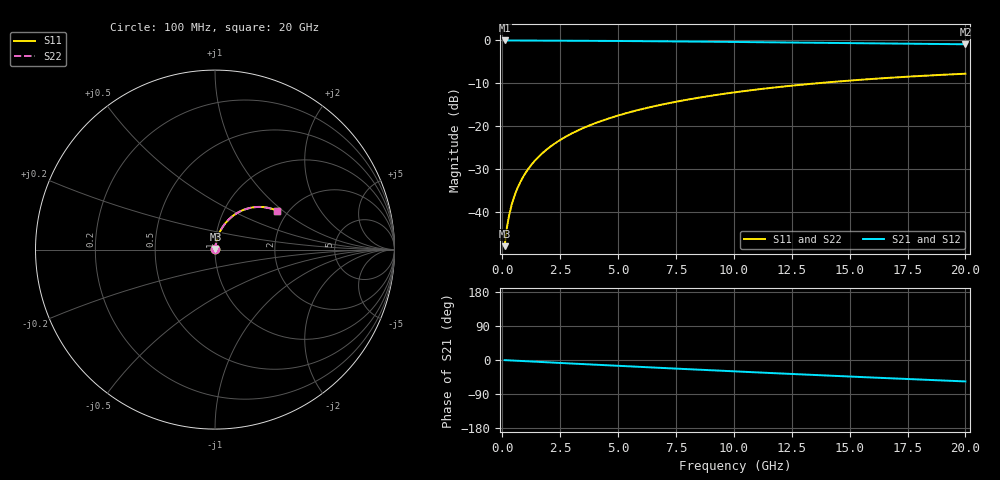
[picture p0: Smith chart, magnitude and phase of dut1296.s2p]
! Touchstone file exported from HFSS 2026.1.0
!  File:  C:/ffzhzh/LocalFiles/Ansys_Project_Files/temp_train_BSMRDL_1296_1783178097_51560.aedt
!  Generated:  11:16:21 PM Jul  4, 2026
!  Design:  BSMRDL
!  Project:  temp_train_BSMRDL_1296_1783178097_51560
! Variables:
!  h_bsmrdl = 5.84um
!  h_ox = 20um
!  h_rdl = 5um
!  h_sub = 80um
!  h_tmrdl = 5um
!  h_tsv = 80um
!  h_via = 3um
!  l_bsmrdl = 919.74um
!  l_sub = 1319.74um
!  l_tmrdl = 200um
!  m_sub = 200um
!  pitch = 48.65um
!  r_tsv = 6um
!  s_tmrdl = 10um
!  w_bsmrdl = 24.23um
!  w_sub = 500um
!  w_tmrdl = 12um
!  x_tsv_center1 = 206um
!  x_tsv_center2 = 1149.97um
!  x_tsv_center3 = 1361.97um
!  x_tsv_center4 = 2305.94um
!  x_tsv_center5 = 2517.94um
!  x_tsv_center6 = 3461.91um
# GHz S MA R 50.000000
! Terminal data exported
! Port[1] = BSM_RDL1_1_T1
! Port[2] = BSM_RDL1_1_T2
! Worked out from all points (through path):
!   200 points, 100 MHz to 20 GHz, reference 50 ohm
!   highest |S21| = -0.02 dB at 100 MHz (marker M1); lowest = -0.9 dB at 20 GHz (marker M2)
!   group delay of S21, straight-line fit = 7.85 ps
!   lowest |S11| = -48.0 dB at 100 MHz (marker M3), VSWR 1.01, Z = 50.3 + j0.308 ohm
!   |S11| at or under -10 dB: start of sweep to 13.61 GHz
!   |S22| runs from -48.0 to -7.8 dB; largest |S21 - S12| = 1.2e-14
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0.1  0.003978 50.5  0.9975 -0.3  0.9975 -0.3  0.003978 50.5
! Gamma 0 0 0 0
! Port Impedance 50 0 50 0
0.2  0.006588 64.9  0.9973 -0.7  0.9973 -0.7  0.006588 64.9
0.3  0.009264 70.8  0.9971 -1.0  0.9971 -1.0  0.009264 70.8
0.4  0.01195 74.0  0.9969 -1.3  0.9969 -1.3  0.01195 74.0
0.5  0.01466 76.1  0.9968 -1.6  0.9968 -1.6  0.01466 76.1
0.7  0.02011 78.4  0.9966 -2.2  0.9966 -2.2  0.02011 78.4
0.8  0.02285 79.0  0.9965 -2.5  0.9965 -2.5  0.02285 79.0
1  0.02833 79.8  0.9962 -3.2  0.9962 -3.2  0.02833 79.8
1.2  0.03382 80.0  0.9958 -3.8  0.9958 -3.8  0.03382 80.0
1.4  0.0393 80.0  0.9954 -4.4  0.9954 -4.4  0.0393 80.0
1.7  0.04747 79.7  0.9948 -5.3  0.9948 -5.3  0.04747 79.7
2  0.05558 79.2  0.994 -6.3  0.994 -6.3  0.05558 79.1
2.7  0.07424 77.6  0.992 -8.4  0.992 -8.4  0.07424 77.5
3.5  0.09508 75.5  0.9894 -10.9  0.9894 -10.9  0.09508 75.5
4.2  0.1129 73.6  0.9868 -13.0  0.9868 -13.0  0.1129 73.6
5  0.1329 71.4  0.9836 -15.4  0.9836 -15.4  0.1329 71.4
6.8  0.1761 66.5  0.9755 -20.7  0.9755 -20.7  0.1761 66.4
8.3  0.2103 62.4  0.968 -25.0  0.968 -25.0  0.2104 62.3
10.1  0.249 57.5  0.9581 -30.2  0.9581 -30.2  0.249 57.4
13.4  0.3125 48.6  0.9385 -39.3  0.9385 -39.3  0.3125 48.6
16.7  0.3657 40.1  0.9187 -48.1  0.9187 -48.1  0.3657 40.0
20  0.4084 31.9  0.9004 -56.6  0.9004 -56.6  0.4084 31.8
